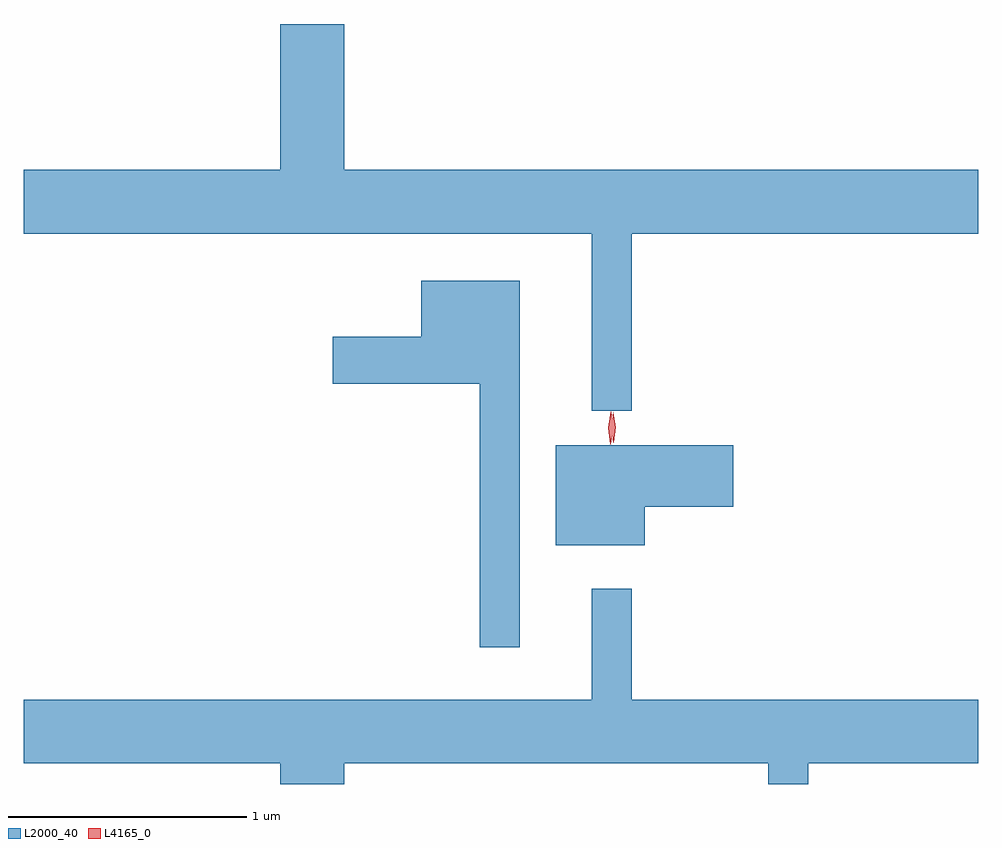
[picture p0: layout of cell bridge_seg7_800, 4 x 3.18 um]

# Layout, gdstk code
import gdstk
lib = gdstk.Library(unit=1e-6, precision=1e-09)
def P(c, l, *ps):  # polygons
    for p in ps: c.add(gdstk.Polygon(p, *l))
L2000_40 = (2000, 40)
L4165_0 = (4165, 0)

bridge_seg7_800 = lib.new_cell('bridge_seg7_800')
P(bridge_seg7_800, L2000_40, [(236.529,1776.476),(237.981,1776.476),(237.981,1776.744),(235.324,1776.744),(235.324,1777.354),(235.056,1777.354),(235.056,1776.744),(233.981,1776.744),(233.981,1776.476),(236.361,1776.476),(236.361,1775.733),(236.529,1775.733)],
  [(236.059,1776.279),(235.646,1776.279),(235.646,1776.044),(235.276,1776.044),(235.276,1775.846),(235.891,1775.846),(235.891,1774.743),(236.059,1774.743)],
  [(236.584,1775.331),(236.954,1775.331),(236.954,1775.589),(236.211,1775.589),(236.211,1775.171),(236.584,1775.171)],
  [(236.529,1774.988),(236.361,1774.988),(236.361,1774.524),(233.981,1774.524),(233.981,1774.256),(235.056,1774.256),(235.056,1774.17),(235.324,1774.17),(235.324,1774.256),(237.101,1774.256),(237.101,1774.17),(237.269,1774.17),(237.269,1774.256),(237.981,1774.256),(237.981,1774.524),(236.529,1774.524)])
P(bridge_seg7_800, L4165_0, [(236.439,1775.594),(236.431,1775.662),(236.441,1775.73),(236.442,1775.73),(236.442,1775.73),(236.451,1775.662),(236.44,1775.594),(236.44,1775.594)],
  [(236.453,1775.6),(236.452,1775.601),(236.442,1775.664),(236.451,1775.726),(236.451,1775.727),(236.452,1775.726),(236.462,1775.664),(236.453,1775.601)])

lib.write_gds('bridge_seg7_800.gds')
